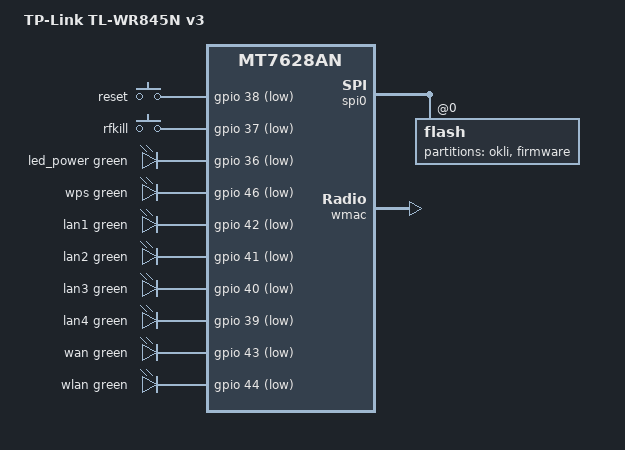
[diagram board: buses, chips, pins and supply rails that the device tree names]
#include <dt-bindings/leds/common.h>
#include <dt-bindings/mtd/partitions/uimage.h>

#include "mt7628an_tplink_8m.dtsi"

/ {
	compatible = "tplink,tl-wr845n-v3", "mediatek,mt7628an-soc";
	model = "TP-Link TL-WR845N v3";

	aliases {
		led-boot = &led_power;
		led-failsafe = &led_power;
		led-running = &led_power;
		led-upgrade = &led_power;
	};

	keys {
		compatible = "gpio-keys";

		reset {
			label = "reset";
			gpios = <&gpio 38 GPIO_ACTIVE_LOW>;
			linux,code = <KEY_RESTART>;
		};

		rfkill {
			label = "rfkill";
			gpios = <&gpio 37 GPIO_ACTIVE_LOW>;
			linux,code = <KEY_RFKILL>;
		};
	};

	leds {
		compatible = "gpio-leds";

		led_power: power {
			function = LED_FUNCTION_POWER;
			color = <LED_COLOR_ID_GREEN>;
			gpios = <&gpio 36 GPIO_ACTIVE_LOW>;
		};

		wps {
			function = LED_FUNCTION_WPS;
			color = <LED_COLOR_ID_GREEN>;
			gpios = <&gpio 46 GPIO_ACTIVE_LOW>;
		};

		lan1 {
			function = LED_FUNCTION_LAN;
			color = <LED_COLOR_ID_GREEN>;
			function-enumerator = <1>;
			gpios = <&gpio 42 GPIO_ACTIVE_LOW>;
		};

		lan2 {
			function = LED_FUNCTION_LAN;
			color = <LED_COLOR_ID_GREEN>;
			function-enumerator = <2>;
			gpios = <&gpio 41 GPIO_ACTIVE_LOW>;
		};

		lan3 {
			function = LED_FUNCTION_LAN;
			color = <LED_COLOR_ID_GREEN>;
			function-enumerator = <3>;
			gpios = <&gpio 40 GPIO_ACTIVE_LOW>;
		};

		lan4 {
			function = LED_FUNCTION_LAN;
			color = <LED_COLOR_ID_GREEN>;
			function-enumerator = <4>;
			gpios = <&gpio 39 GPIO_ACTIVE_LOW>;
		};

		wan {
			function = LED_FUNCTION_WAN;
			color = <LED_COLOR_ID_GREEN>;
			gpios = <&gpio 43 GPIO_ACTIVE_LOW>;
		};

		wlan {
			function = LED_FUNCTION_WLAN;
			color = <LED_COLOR_ID_GREEN>;
			gpios = <&gpio 44 GPIO_ACTIVE_LOW>;
		};
	};
};

/* Keep the OEM header, OKLI loader and OEM-written tag out of sysupgrade. */
&spi0 {
	flash@0 {
		partitions {
			/delete-node/ partition@20000;

			partition@20000 {
				label = "okli";
				reg = <0x20000 0x30000>;
				read-only;
			};

			partition@50000 {
				compatible = "openwrt,uimage";
				openwrt,ih-magic = <IH_MAGIC_OKLI>;
				label = "firmware";
				reg = <0x50000 0x770000>;
			};
		};
	};
};

&ehci {
	status = "disabled";
};

&ohci {
	status = "disabled";
};

&state_default {
	gpio {
		groups = "gpio", "p0led_an", "p1led_an", "p2led_an", "p3led_an", "p4led_an", "perst", "refclk", "uart1", "wdt", "wled_an";
		function = "gpio";
	};
};

&wmac {
	status = "okay";

	nvmem-cells = <&eeprom_factory_20000>, <&macaddr_factory_f100 0>;
	nvmem-cell-names = "eeprom", "mac-address";
};

&ethernet {
	nvmem-cells = <&macaddr_factory_f100 0>;
	nvmem-cell-names = "mac-address";
};

&esw {
	mediatek,portmap = <0x3e>;
};
